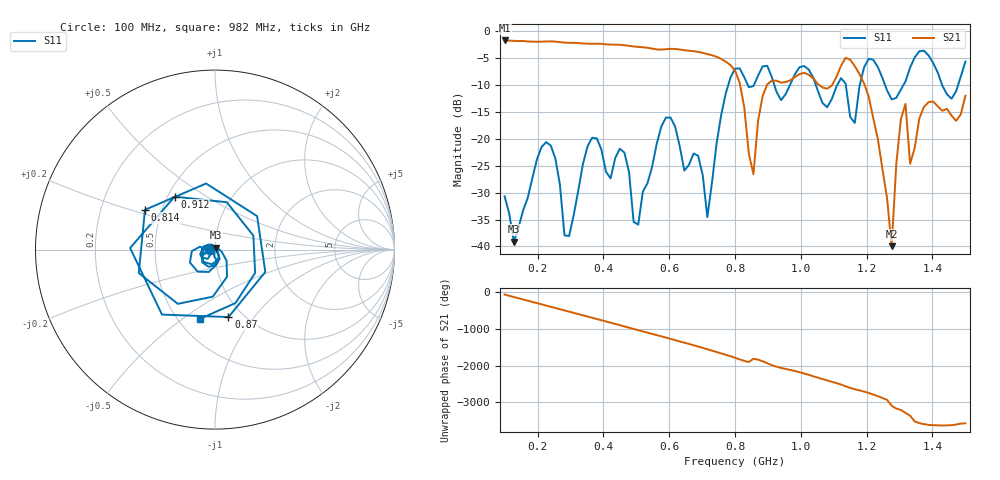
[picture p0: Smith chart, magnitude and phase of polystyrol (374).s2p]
! NanoVNA-App
! Date: 2025-09-25 15:32:48
! Start: 100MHz Stop: 1,5GHz Points: 101
! S-Parameter data: F S11 S21 S12 S22
# Hz S RI R 50
!  Frequency  S11_Real  S11_Imag  S21_Real  S21_Imag  S12_Real  S12_Imag  S22_Real  S22_Imag
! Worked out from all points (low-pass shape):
!   101 points, 100 MHz to 1.5 GHz, reference 50 ohm
!   highest |S21| = -1.80 dB at 100 MHz (marker M1); lowest = -39.9 dB at 1.276 GHz (marker M2)
!   |S21| within 3 dB of the highest: start of sweep to 743.1 MHz
!   lowest |S11| = -39.1 dB at 128 MHz (marker M3), VSWR 1.02, Z = 50.3 + j1.06 ohm
!   |S11| at or under -10 dB: start of sweep to 779.8 MHz; 1.045 GHz to 1.111 GHz (66.15 MHz wide, 6.13 % of centre); 1.256 GHz to 1.312 GHz (56.78 MHz wide, 4.42 % of centre)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
!   S12 and S22 are empty: the file has one direction only
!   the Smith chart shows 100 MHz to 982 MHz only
!   S11 on the Smith chart (normalised r, x): 100 MHz: 0.94, -0.01; 814 MHz: 0.40, +0.22; 870 MHz: 0.86, -0.75; 912 MHz: 0.54, +0.37; 982 MHz: 0.64, -0.58
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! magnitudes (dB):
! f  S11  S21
! 100 MHz  -30.7  -1.8
! 128 MHz  -39.1  -1.9
! 212 MHz  -21.6  -2.0
! 282 MHz  -37.9  -2.2
! 338 MHz  -24.7  -2.3
! 464 MHz  -22.6  -2.7
! 506 MHz  -36.0  -3.0
! 576 MHz  -17.8  -3.5
! 716 MHz  -34.6  -4.3
! 800 MHz  -7.0  -7.4
! 814 MHz  -7.0  -9.6
! 856 MHz  -10.3  -26.6
! 870 MHz  -8.3  -16.8
! 912 MHz  -8.6  -9.3
! 982 MHz  -8.1  -8.6
! 1.038 GHz  -8.7  -8.8
! 1.164 GHz  -17.1  -6.6
! 1.192 GHz  -6.8  -9.8
! 1.276 GHz  -12.7  -39.9
! 1.318 GHz  -9.4  -13.6
! 1.332 GHz  -6.8  -24.7
! 1.5 GHz  -5.7  -12.1
